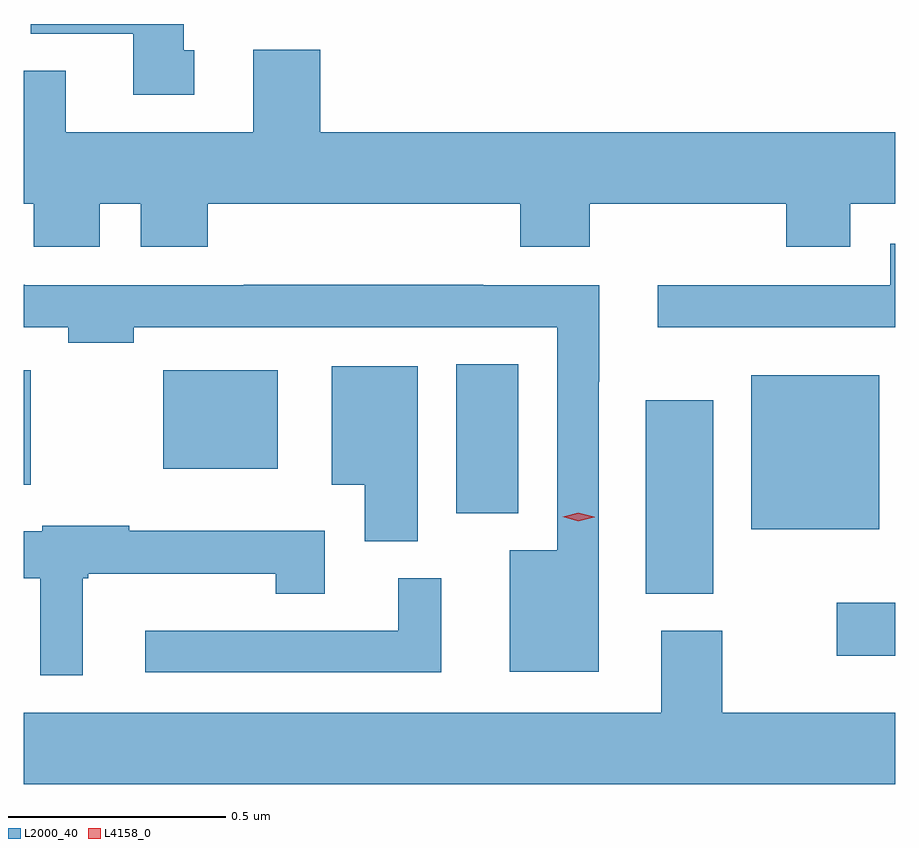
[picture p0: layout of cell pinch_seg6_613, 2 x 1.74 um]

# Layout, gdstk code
import gdstk
lib = gdstk.Library(unit=1e-6, precision=1e-09)
def R(c, l, rs):  # rectangles x0, y0, x1, y1
    for r in rs: c.add(gdstk.rectangle(r[:2], r[2:], *l))
def P(c, l, *ps):  # polygons
    for p in ps: c.add(gdstk.Polygon(p, *l))
L2000_40 = (2000, 40)
L4158_0 = (4158, 0)

pinch_seg6_613 = lib.new_cell('pinch_seg6_613')
R(pinch_seg6_613, L2000_40, [(403.542,978.266,403.676,978.388), (403.103,978.409,403.258,978.853), (403.346,978.557,403.639,978.91), (402.668,978.593,402.811,978.935), (401.676,978.659,401.692,978.922), (401.996,978.695,402.259,978.922)])
P(pinch_seg6_613, L2000_40, [(402.067,979.656),(402.043,979.656),(402.043,979.716),(401.692,979.716),(401.692,979.694),(401.927,979.694),(401.927,979.554),(402.067,979.554)],
  [(401.851,979.304),(401.945,979.304),(401.945,979.205),(402.098,979.205),(402.098,979.304),(402.815,979.304),(402.815,979.205),(402.975,979.205),(402.975,979.304),(403.426,979.304),(403.426,979.205),(403.573,979.205),(403.573,979.304),(403.676,979.304),(403.676,979.468),(402.356,979.468),(402.356,979.657),(402.203,979.657),(402.203,979.468),(401.773,979.468),(401.773,979.609),(401.676,979.609),(401.676,979.304),(401.699,979.304),(401.699,979.205),(401.851,979.205)],
  [(403.676,979.212),(403.665,979.212),(403.665,979.116),(403.131,979.116),(403.131,979.02),(403.676,979.02)],
  [(402.996,978.895),(402.997,978.895),(402.997,979.116),(402.731,979.116),(402.731,979.118),(402.181,979.118),(402.181,979.116),(401.678,979.116),(401.678,979.118),(401.676,979.118),(401.676,979.02),(401.778,979.02),(401.778,978.985),(401.928,978.985),(401.928,979.02),(402.9,979.02),(402.9,978.508),(402.791,978.508),(402.791,978.23),(402.996,978.23)],
  [(402.58,978.931),(402.383,978.931),(402.383,978.659),(402.458,978.659),(402.458,978.529),(402.58,978.529)],
  [(401.812,978.444),(401.824,978.444),(401.824,978.455),(402.254,978.455),(402.254,978.409),(402.367,978.409),(402.367,978.553),(401.918,978.553),(401.918,978.565),(401.718,978.565),(401.718,978.552),(401.676,978.552),(401.676,978.444),(401.714,978.444),(401.714,978.221),(401.812,978.221)],
  [(402.634,978.444),(402.536,978.444),(402.536,978.324),(401.955,978.324),(401.955,978.228),(402.634,978.228)],
  [(403.676,978.136),(403.279,978.136),(403.279,978.324),(403.139,978.324),(403.139,978.136),(401.676,978.136),(401.676,977.972),(403.676,977.972)])
P(pinch_seg6_613, L4158_0, [(402.949,978.575),(402.913,978.585),(402.913,978.585),(402.913,978.585),(402.949,978.595),(402.985,978.585),(402.986,978.584),(402.985,978.584)])

lib.write_gds('pinch_seg6_613.gds')
